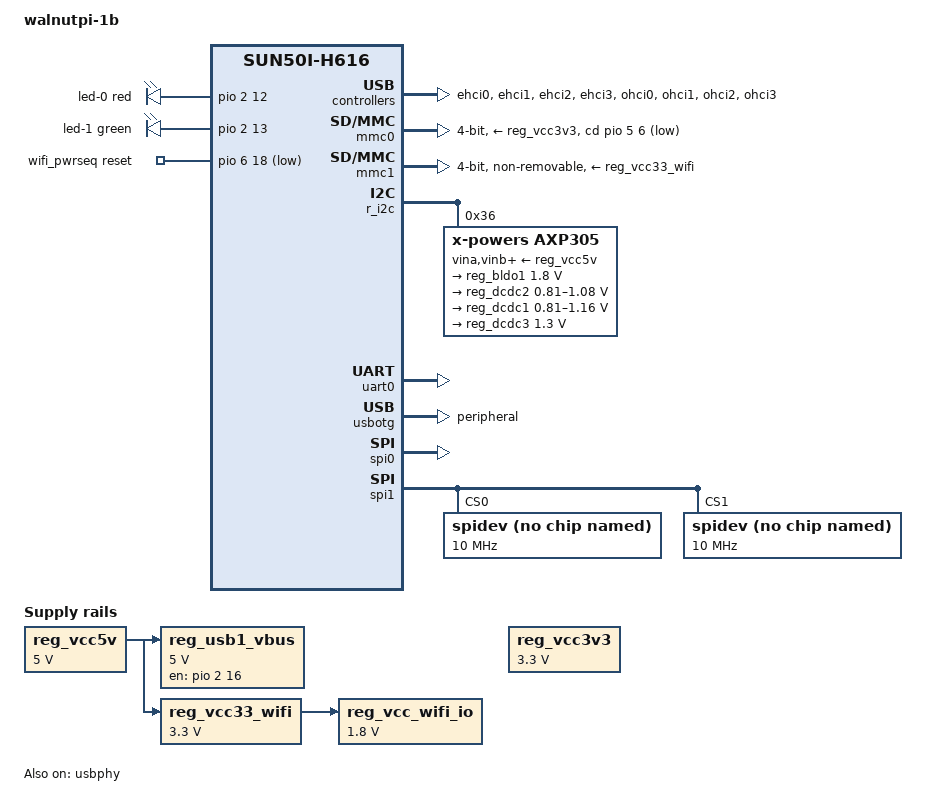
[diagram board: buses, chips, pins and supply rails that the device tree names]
// SPDX-License-Identifier: (GPL-2.0+ or MIT)
/*
 * Copyright (C) 2020 Arm Ltd.
 */

/dts-v1/;

#include "sun50i-h616.dtsi"

#include <dt-bindings/gpio/gpio.h>
#include <dt-bindings/interrupt-controller/arm-gic.h>
#include <dt-bindings/leds/common.h>

/ {
	model = "walnutpi-1b";
	compatible = "allwinner,sun50i-h616";

	aliases {
		serial0 = &uart0;
	};

	chosen {
		stdout-path = "serial0:115200n8";
	};

	leds {
		compatible = "gpio-leds";

		led-0 {
			function = LED_FUNCTION_POWER;
			color = <LED_COLOR_ID_RED>;
			gpios = <&pio 2 12 GPIO_ACTIVE_HIGH>; /* PC12 */
		};

		led-1 {
			function = LED_FUNCTION_STATUS;
			color = <LED_COLOR_ID_GREEN>;
			gpios = <&pio 2 13 GPIO_ACTIVE_HIGH>; /* PC13 */
			default-state = "on";
		};
	};

	reg_vcc5v: vcc5v {
		/* board wide 5V supply directly from the USB-C socket */
		compatible = "regulator-fixed";
		regulator-name = "vcc-5v";
		regulator-min-microvolt = <5000000>;
		regulator-max-microvolt = <5000000>;
		regulator-always-on;
	};

	reg_vcc3v3: vcc3v3 {
		compatible = "regulator-fixed";
		regulator-name = "vcc-3v3";
		regulator-min-microvolt = <3300000>;
		regulator-max-microvolt = <3300000>;
		regulator-always-on;
	};

	reg_usb1_vbus: usb1-vbus {
		compatible = "regulator-fixed";
		regulator-name = "usb1-vbus";
		regulator-min-microvolt = <5000000>;
		regulator-max-microvolt = <5000000>;
		vin-supply = <&reg_vcc5v>;
		enable-active-high;
		gpio = <&pio 2 16 GPIO_ACTIVE_HIGH>; /* PC16 */
		status = "okay";
	};

	reg_vcc33_wifi: vcc33-wifi {
		/* Always on 3.3V regulator for WiFi and BT */
		compatible = "regulator-fixed";
		regulator-name = "vcc33-wifi";
		regulator-min-microvolt = <3300000>;
		regulator-max-microvolt = <3300000>;
		regulator-always-on;
		vin-supply = <&reg_vcc5v>;
	};

	reg_vcc_wifi_io: vcc-wifi-io {
		/* Always on 1.8V/300mA regulator for WiFi and BT IO */
		compatible = "regulator-fixed";
		regulator-name = "vcc-wifi-io";
		regulator-min-microvolt = <1800000>;
		regulator-max-microvolt = <1800000>;
		regulator-always-on;
		vin-supply = <&reg_vcc33_wifi>;
	};

	wifi_pwrseq: wifi-pwrseq {
		compatible = "mmc-pwrseq-simple";
		clocks = <&rtc 1>;
		clock-names = "osc32k-out";
		reset-gpios = <&pio 6 18 GPIO_ACTIVE_LOW>;  /* PG18 */
		post-power-on-delay-ms = <200>;
	};

    // ac200_pwm_clk: ac200_clk {
    //     compatible = "pwm-clock";
    //     #clock-cells = <0>;
    //     // pwm5 period_ns = 500 > 334 for select 24M clock.
    //     pwms = <&pwm 5 500 1>;
    //     clock-frequency = <2000000>;
    //     status = "okay";
	// };

	gpu_opp_table: opp-table-1 {
		compatible = "operating-points-v2";

		opp-200000000 {
			opp-hz = /bits/ 64 <200000000>;
			opp-microvolt = <1100000>;
		};
		opp-312000000 {
			opp-hz = /bits/ 64 <312000000>;
			opp-microvolt = <1100000>;
		};
		opp-432000000 {
			opp-hz = /bits/ 64 <432000000>;
			opp-microvolt = <1100000>;
		};
		opp-528000000 {
			opp-hz = /bits/ 64 <528000000>;
			opp-microvolt = <1100000>;
		};
		opp-650000000 {
			opp-hz = /bits/ 64 <650000000>;
			opp-microvolt = <1100000>;
		};
	};
};



// &emac1 {
// 	pinctrl-names = "default";
// 	pinctrl-0 = <&rmii_pins>;
// 	phy-mode = "rmii";
// 	phy-handle = <&rmii_phy>;
// 	phy-supply = <&reg_vcc3v3>;
// 	allwinner,rx-delay-ps = <3100>;
// 	allwinner,tx-delay-ps = <700>;
// 	status = "okay";
// };

// &mdio1 {
// 	rmii_phy: ethernet-phy@1 {
// 		compatible = "ethernet-phy-ieee802.3-c22";
// 		reg = <1>;
// 	};
// };

&usbphy {
	usb1_vbus-supply = <&reg_usb1_vbus>;
	status = "okay";
};



&ehci0 {
	status = "okay";
};

&ehci1 {
	status = "okay";
};

&ehci2 {
	status = "okay";
};

&ehci3 {
	status = "okay";
};

/*------------------------------------*/


&mmc0 {
	vmmc-supply = <&reg_vcc3v3>;
	cd-gpios = <&pio 5 6 GPIO_ACTIVE_LOW>;	/* PF6 */
	bus-width = <4>;
	status = "okay";
};

&mmc1 {
	vmmc-supply = <&reg_vcc33_wifi>;
	vqmmc-supply = <&reg_vcc_wifi_io>;
	mmc-pwrseq = <&wifi_pwrseq>;
	bus-width = <4>;
	non-removable;
	mmc-ddr-1_8v;
	status = "okay";
};

&mmc2 {
    vmmc-supply = <&reg_vcc3v3>;

    no-1-8-v;
	bus-width = <8>;
    non-removable;
    status = "disabled";
};

&ohci0 {
	status = "okay";
};

&ohci1 {
	status = "okay";
};

&ohci2 {
	status = "okay";
};

&ohci3 {
	status = "okay";
};

&r_i2c {
	status = "okay";

	axp305: pmic@36 {
		compatible = "x-powers,axp305", "x-powers,axp805",
			     "x-powers,axp806";
		interrupt-controller;
		#interrupt-cells = <1>;
		reg = <0x36>;

		x-powers,self-working-mode;
		vina-supply = <&reg_vcc5v>;
		vinb-supply = <&reg_vcc5v>;
		vinc-supply = <&reg_vcc5v>;
		vind-supply = <&reg_vcc5v>;
		vine-supply = <&reg_vcc5v>;
		aldoin-supply = <&reg_vcc5v>;
		bldoin-supply = <&reg_vcc5v>;
		cldoin-supply = <&reg_vcc5v>;

		regulators {

			reg_bldo1: bldo1 {
				regulator-always-on;
				regulator-min-microvolt = <1800000>;
				regulator-max-microvolt = <1800000>;
				regulator-name = "vcc1v8";
			};

			reg_dcdc2: dcdc2 {
				regulator-always-on;
				regulator-min-microvolt = <810000>;
				regulator-max-microvolt = <1080000>;
				regulator-name = "vdd-cpu";
			};
			
			reg_dcdc1: dcdc1 {
				regulator-always-on;
				regulator-min-microvolt = <810000>;
				regulator-max-microvolt = <1160000>;
				regulator-name = "vdd-gpu-sys";
			};

			reg_dcdc3: dcdc3 {
				regulator-always-on;
				regulator-min-microvolt = <1300000>;
				regulator-max-microvolt = <1300000>;
				regulator-name = "vdd-dram";
			};

	
			sw {
				/* unused */
			};
		};
	};
};

&cpu0 {
        cpu-supply = <&reg_dcdc2>;
};



&uart0 {
	pinctrl-names = "default";
	pinctrl-0 = <&uart0_ph_pins>;
	status = "okay";
};

&usbotg {
	/*
	 * PHY0 pins are connected to a USB-C socket, but a role switch
	 * is not implemented: both CC pins are pulled to GND.
	 * The VBUS pins power the device, so a fixed peripheral mode
	 * is the best choice.
	 * The board can be powered via GPIOs, in this case port0 *can*
	 * act as a host (with a cable/adapter ignoring CC), as VBUS is
	 * then provided by the GPIOs. Any user of this setup would
	 * need to adjust the DT accordingly: dr_mode set to "host",
	 * enabling OHCI0 and EHCI0.
	 */
	dr_mode = "peripheral";
	status = "okay";
};



&spi0  {
	status = "okay";

	// flash@0 {
	// 	#address-cells = <1>;
	// 	#size-cells = <1>;
	// 	compatible = "jedec,spi-nor";
	// 	reg = <0>;
	// 	spi-max-frequency = <40000000>;
	// };

};
&spi1 {
    #address-cells = <1>;
    #size-cells = <0>;
    status = "okay";

	spidev@0 {
		compatible = "rohm,dh2228fv";
		status = "okay";
		reg = <0>;
		spi-max-frequency = <10000000>;
	};
	spidev@1 {
		compatible = "rohm,dh2228fv";
		status = "okay";
		reg = <1>;
		spi-max-frequency = <10000000>;
	};

};

